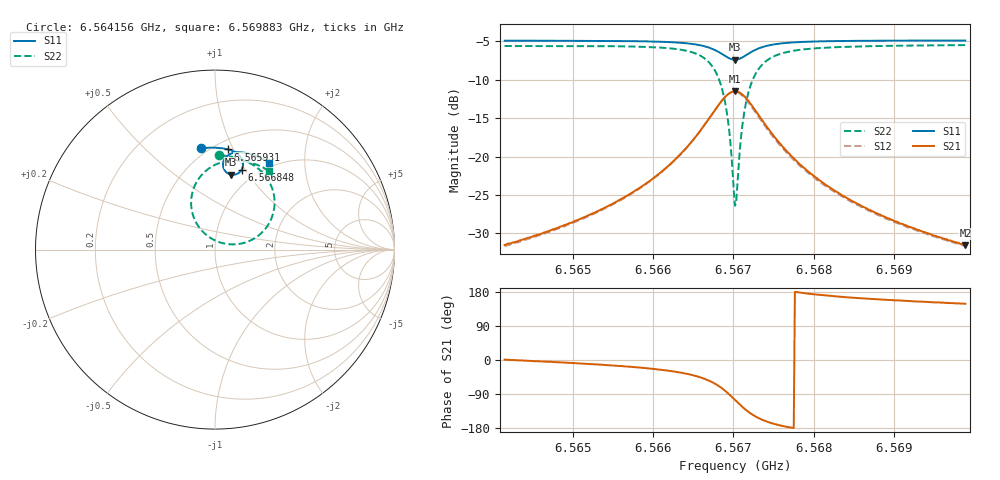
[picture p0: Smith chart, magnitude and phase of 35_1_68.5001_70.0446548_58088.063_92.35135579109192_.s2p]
#  HZ  S  RI  R  50.00
! Rohde & Schwarz Vector Network Analyzer
! Rohde-Schwarz,ZNB20-2Port,1311601062101988,3.16
! Created: UTC 3/20/2024, 5:05:14 PM
! freq[Hz]  re:S11  im:S11  re:S21  im:S21  re:S12  im:S12  re:S22  im:S22
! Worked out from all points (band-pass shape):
!   401 points, 6.564156 GHz to 6.569883 GHz, reference 50 ohm
!   highest |S21| = -11.49 dB at 6.567019 GHz (marker M1); lowest = -31.6 dB at 6.569883 GHz (marker M2)
!   |S21| within 3 dB of the highest: 6.566734 GHz to 6.567306 GHz (571.3 kHz wide, 0.0087 % of centre)
!   lowest |S11| = -7.4 dB at 6.567019 GHz (marker M3), VSWR 2.49, Z = 40.6 + j41.6 ohm
!   |S11| at or under -10 dB: nowhere
!   |S22| runs from -26.4 to -5.5 dB; largest |S21 - S12| = 0.012
!   S11 on the Smith chart (normalised r, x): 6.564156 GHz: 0.46, +0.76; 6.565931 GHz: 0.58, +0.95; 6.566848 GHz: 0.84, +0.97; 6.569883 GHz: 0.93, +1.34
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6.5641557e9  -0.0784 0.5636  0.0266 0.000534  0.0261 -9.61e-05  0.0208 0.5247
6.5651151e9  -0.000518 0.5679  0.0391 -0.00658  0.0385 -0.00705  0.1091 0.5138
6.5659312e9  0.0734 0.558  0.0629 -0.0254  0.062 -0.026  0.2083 0.4742
6.5660744e9  0.0881 0.5534  0.0699 -0.0328  0.0691 -0.0336  0.2309 0.4589
6.5663895e9  0.1231 0.5352  0.0903 -0.0633  0.0888 -0.0647  0.2894 0.3984
6.5666042e9  0.1476 0.508  0.1033 -0.1103  0.1012 -0.1124  0.3277 0.3076
6.5667474e9  0.1563 0.4756  0.0969 -0.1669  0.0929 -0.1697  0.3236 0.1998
6.5668477e9  0.1487 0.4455  0.0662 -0.2185  0.0592 -0.2212  0.2698 0.1032
6.5668906e9  0.1391 0.433  0.0413 -0.2392  0.033 -0.2409  0.2246 0.0656
6.5669336e9  0.1251 0.4229  0.00879 -0.2549  -0.00115 -0.2549  0.1652 0.0384
6.5670052e9  0.0948 0.417  -0.0569 -0.2598  -0.0679 -0.2554  0.0478 0.0346
6.5670195e9  0.0885 0.4181  -0.0706 -0.257  -0.081 -0.2515  0.0244 0.0411
6.5670481e9  0.0765 0.4222  -0.0962 -0.2471  -0.1059 -0.2399  -0.0195 0.0613
6.5671054e9  0.0572 0.4373  -0.1379 -0.2149  -0.1446 -0.2053  -0.0876 0.1231
6.5671484e9  0.0484 0.4523  -0.1581 -0.1847  -0.1624 -0.1744  -0.1179 0.1782
6.5672056e9  0.0445 0.4727  -0.1709 -0.1443  -0.172 -0.1345  -0.1329 0.25
6.5672772e9  0.0484 0.4948  -0.1705 -0.1012  -0.1694 -0.0927  -0.1242 0.3249
6.567535e9  0.0876 0.5342  -0.1276 -0.0219  -0.125 -0.0183  -0.0273 0.4566
6.5679789e9  0.1462 0.5421  -0.0759 0.00819  -0.074 0.00932  0.0938 0.4969
6.5684084e9  0.1886 0.5345  -0.0521 0.0134  -0.051 0.0139  0.1631 0.4929
6.5689382e9  0.2329 0.5195  -0.0367 0.0145  -0.0358 0.0148  0.2232 0.4768
6.5698833e9  0.3014 0.4849  -0.0225 0.0138  -0.0222 0.014  0.3027 0.4381
